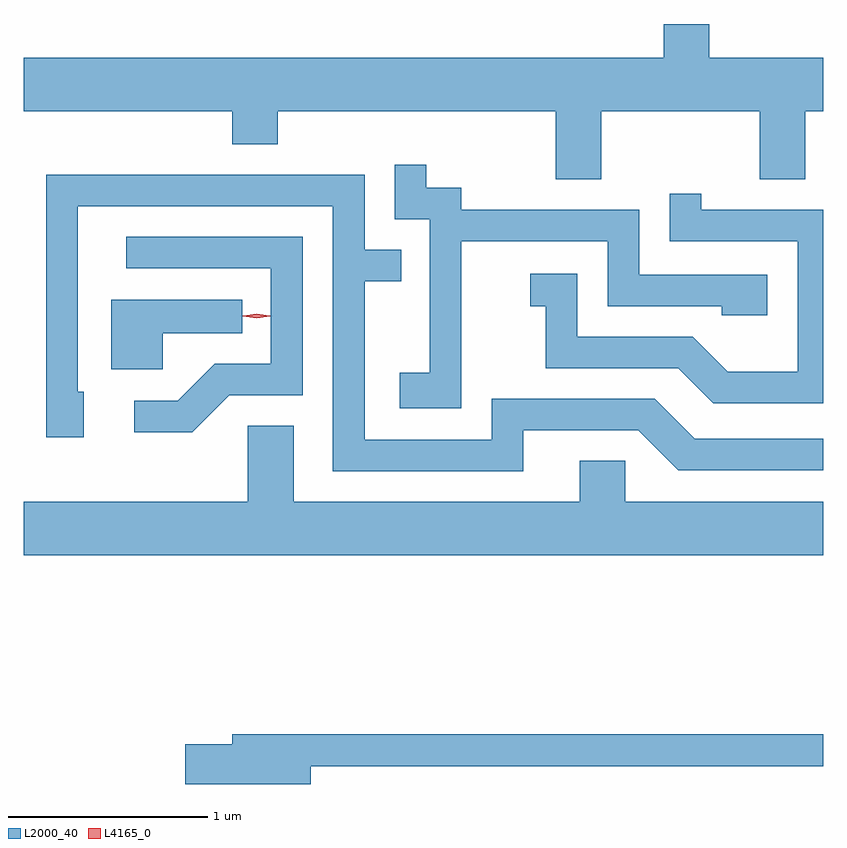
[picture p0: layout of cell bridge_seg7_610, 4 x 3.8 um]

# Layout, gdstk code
import gdstk
lib = gdstk.Library(unit=1e-6, precision=1e-09)
def P(c, l, *ps):  # polygons
    for p in ps: c.add(gdstk.Polygon(p, *l))
L2000_40 = (2000, 40)
L4165_0 = (4165, 0)

bridge_seg7_610 = lib.new_cell('bridge_seg7_610')
P(bridge_seg7_610, L2000_40, [(804.539,1696.556),(805.331,1696.556),(805.331,1696.216),(805.559,1696.216),(805.559,1696.556),(805.649,1696.556),(805.649,1696.824),(805.079,1696.824),(805.079,1696.993),(804.851,1696.993),(804.851,1696.824),(801.649,1696.824),(801.649,1696.556),(802.691,1696.556),(802.691,1696.391),(802.919,1696.391),(802.919,1696.556),(804.311,1696.556),(804.311,1696.216),(804.539,1696.216)],
  [(803.839,1695.906),(804.571,1695.906),(804.571,1695.581),(805.141,1695.581),(805.141,1695.536),(805.369,1695.536),(805.369,1695.739),(804.729,1695.739),(804.729,1696.064),(803.839,1696.064),(803.839,1696.174),(803.664,1696.174),(803.664,1696.288),(803.506,1696.288),(803.506,1696.016),(803.681,1696.016),(803.681,1695.249),(803.531,1695.249),(803.531,1695.071),(803.839,1695.071)],
  [(804.149,1694.961),(804.724,1694.961),(804.924,1694.761),(805.649,1694.761),(805.649,1694.919),(805.007,1694.919),(804.807,1695.119),(803.991,1695.119),(803.991,1694.914),(803.354,1694.914),(803.354,1695.706),(803.538,1695.706),(803.538,1695.864),(803.354,1695.864),(803.354,1696.239),(801.761,1696.239),(801.761,1694.926),(801.949,1694.926),(801.949,1695.154),(801.919,1695.154),(801.919,1696.081),(803.196,1696.081),(803.196,1694.756),(804.149,1694.756)],
  [(805.649,1696.064),(805.039,1696.064),(805.039,1696.143),(804.881,1696.143),(804.881,1695.906),(805.521,1695.906),(805.521,1695.254),(805.172,1695.254),(804.997,1695.429),(804.419,1695.429),(804.419,1695.744),(804.183,1695.744),(804.183,1695.581),(804.261,1695.581),(804.261,1695.271),(804.924,1695.271),(805.099,1695.096),(805.649,1695.096)],
  [(802.677,1695.136),(803.044,1695.136),(803.044,1695.929),(802.163,1695.929),(802.163,1695.771),(802.886,1695.771),(802.886,1695.294),(802.604,1695.294),(802.419,1695.109),(802.203,1695.109),(802.203,1694.951),(802.492,1694.951)],
  [(802.344,1695.446),(802.743,1695.446),(802.743,1695.614),(802.086,1695.614),(802.086,1695.266),(802.344,1695.266)],
  [(805.649,1694.604),(804.659,1694.604),(804.659,1694.809),(804.431,1694.809),(804.431,1694.604),(802.999,1694.604),(802.999,1694.984),(802.771,1694.984),(802.771,1694.604),(801.649,1694.604),(801.649,1694.336),(805.649,1694.336)],
  [(803.084,1693.281),(805.649,1693.281),(805.649,1693.439),(802.691,1693.439),(802.691,1693.389),(802.456,1693.389),(802.456,1693.191),(803.084,1693.191)])
P(bridge_seg7_610, L4165_0, [(802.814,1695.522),(802.745,1695.532),(802.744,1695.532),(802.745,1695.533),(802.814,1695.542),(802.883,1695.533),(802.883,1695.532),(802.883,1695.532)],
  [(802.814,1695.524),(802.748,1695.533),(802.747,1695.534),(802.748,1695.534),(802.814,1695.544),(802.88,1695.534),(802.881,1695.534),(802.88,1695.533)])

lib.write_gds('bridge_seg7_610.gds')
